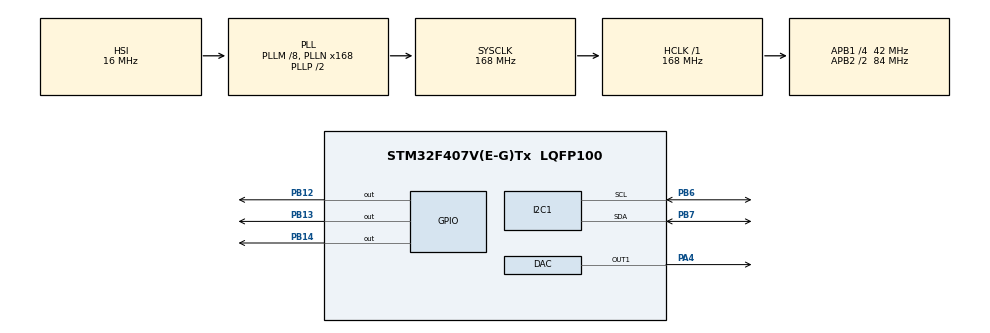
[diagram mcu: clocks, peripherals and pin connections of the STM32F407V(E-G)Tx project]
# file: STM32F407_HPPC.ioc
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Mcu.Family=STM32F4
Mcu.Name=STM32F407V(E-G)Tx
Mcu.Package=LQFP100
NVIC.PriorityGroup=NVIC_PRIORITYGROUP_4
NVIC.TIM6_DAC_IRQn=true\:15\:0\:false\:false\:true\:false\:true\:true
NVIC.TimeBase=TIM6_DAC_IRQn
NVIC.TimeBaseIP=TIM6
PA13.Mode=Trace_Asynchronous_SW
PA13.Signal=SYS_JTMS-SWDIO
PA14.Mode=Trace_Asynchronous_SW
PA14.Signal=SYS_JTCK-SWCLK
PA4.Signal=COMP_DAC1_group
PB12.Signal=GPIO_Output
PB13.Signal=GPIO_Output
PB14.Signal=GPIO_Output
PB3.Mode=Trace_Asynchronous_SW
PB3.Signal=SYS_JTDO-SWO
PB6.Mode=I2C
PB6.Signal=I2C1_SCL
PB7.Mode=I2C
PB7.Signal=I2C1_SDA
PH0-OSC_IN.Mode=HSE-External-Oscillator
PH0-OSC_IN.Signal=RCC_OSC_IN
PH1-OSC_OUT.Mode=HSE-External-Oscillator
PH1-OSC_OUT.Signal=RCC_OSC_OUT
ProjectManager.HeapSize=0x200
ProjectManager.StackSize=0x400
ProjectManager.TargetToolchain=STM32CubeIDE
RCC.48MHZClocksFreq_Value=84000000
RCC.AHBFreq_Value=168000000
RCC.APB1CLKDivider=RCC_HCLK_DIV4
RCC.APB1Freq_Value=42000000
RCC.APB1TimFreq_Value=84000000
RCC.APB2CLKDivider=RCC_HCLK_DIV2
RCC.APB2Freq_Value=84000000
RCC.APB2TimFreq_Value=168000000
RCC.CortexFreq_Value=168000000
RCC.HCLKFreq_Value=168000000
RCC.HSE_VALUE=25000000
RCC.HSI_VALUE=16000000
RCC.LSE_VALUE=32768
RCC.PLLM=8
RCC.PLLN=168
RCC.SYSCLKFreq_VALUE=168000000
RCC.SYSCLKSource=RCC_SYSCLKSOURCE_PLLCLK
RCC.VCOOutputFreq_Value=336000000
SH.COMP_DAC1_group.0=DAC_OUT1,DAC_OUT1
VP_SYS_VS_tim6.Mode=TIM6
VP_TIM3_VS_ClockSourceINT.Mode=Internal
board=custom

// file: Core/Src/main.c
/* USER CODE BEGIN Header */
/**
  ******************************************************************************
  * @file           : main.c
  * @brief          : Main program body
  ******************************************************************************
  * @attention
  *
  * Copyright (c) 2026 STMicroelectronics.
  * All rights reserved.
  *
  * This software is licensed under terms that can be found in the LICENSE file
  * in the root directory of this software component.
  * If no LICENSE file comes with this software, it is provided AS-IS.
  *
  ******************************************************************************
  */
/* USER CODE END Header */
#include "main.h"
#include "SEGGER_RTT.h"
/* USER CODE BEGIN Includes */
#include "ina226.h"
/* USER CODE END Includes */

DAC_HandleTypeDef hdac;

I2C_HandleTypeDef hi2c1;

TIM_HandleTypeDef htim3;

/* USER CODE BEGIN PV */
float bus_voltage   = 0.0f;
float shunt_current = 0.0f;

/* ---- RTT command parser ---- */
#define CMD_BUF_SIZE 64
static char     cmd_buf[CMD_BUF_SIZE];
static uint32_t cmd_len = 0;

/* ---- HPPC state ---- */
static uint8_t hppc_running = 0;   /* 1 = test in progress */
/* USER CODE END PV */

void SystemClock_Config(void);
static void MX_GPIO_Init(void);
static void MX_I2C1_Init(void);
static void MX_TIM3_Init(void);
static void MX_DAC_Init(void);
/* USER CODE BEGIN PFP */
static void RTT_ProcessCommands(void);
static int  str_starts(const char *s, const char *prefix);
/* USER CODE END PFP */

/* USER CODE BEGIN 0 */

/* Return 1 if s starts with prefix (case-sensitive). */
static int str_starts(const char *s, const char *prefix)
{
    while (*prefix) {
        if (*s++ != *prefix++) return 0;
    }
    return 1;
}

/*
 * RTT_ProcessCommands
 * -------------------
 * Drains the RTT down-buffer (channel 0) byte by byte and executes any
 * complete '\n'-terminated command.
 *
 * Supported commands (sent by the Python GUI):
 *   RESET_ALL        – turn everything off
 *   CHARGE           – enable charge path
 *   DISCHARGE_HIGH   – enable high-current discharge
 *   DISCHARGE_LOW    – enable low-current discharge
 *   START_HPPC       – begin HPPC test
 *   STOP_HPPC        – abort HPPC test
 */
static void RTT_ProcessCommands(void)
{
    uint8_t byte;

    while (SEGGER_RTT_Read(0, &byte, 1) == 1)
    {
        /* Ignore carriage returns; treat '\n' as end-of-command. */
        if (byte == '\r') continue;

        if (byte == '\n')
        {
            cmd_buf[cmd_len] = '\0';   /* null-terminate */

            /* ---- dispatch ---- */
            if (str_starts(cmd_buf, "RESET_ALL"))
            {
                hppc_running = 0;
                Reset_All();
                SEGGER_RTT_printf(0, "OK:RESET_ALL\r\n");
            }
            else if (str_starts(cmd_buf, "CHARGE"))
            {
                hppc_running = 0;
                Charge();
                SEGGER_RTT_printf(0, "OK:CHARGE\r\n");
            }
            else if (str_starts(cmd_buf, "DISCHARGE_HIGH"))
            {
                hppc_running = 0;
                Discharge_High();
                SEGGER_RTT_printf(0, "OK:DISCHARGE_HIGH\r\n");
            }
            else if (str_starts(cmd_buf, "DISCHARGE_LOW"))
            {
                hppc_running = 0;
                Discharge_Low();
                SEGGER_RTT_printf(0, "OK:DISCHARGE_LOW\r\n");
            }
            else if (str_starts(cmd_buf, "START_HPPC"))
            {
                hppc_running = 1;
                SEGGER_RTT_printf(0, "OK:START_HPPC\r\n");
            }
            else if (str_starts(cmd_buf, "STOP_HPPC"))
            {
                hppc_running = 0;
                Reset_All();
                SEGGER_RTT_printf(0, "OK:STOP_HPPC\r\n");
            }
            else if (cmd_len > 0)
            {
                SEGGER_RTT_printf(0, "ERR:UNKNOWN_CMD:%s\r\n", cmd_buf);
            }

            cmd_len = 0;   /* reset buffer for next command */
        }
        else
        {
            /* Accumulate character; drop if buffer is full. */
            if (cmd_len < CMD_BUF_SIZE - 1)
                cmd_buf[cmd_len++] = (char)byte;
        }
    }
}

/* USER CODE END 0 */

int main(void)
{

  /* USER CODE BEGIN 1 */
  SCB->VTOR = FLASH_BASE;

  /* USER CODE END 1 */

  /* MCU Configuration--------------------------------------------------------*/

  /* Reset of all peripherals, Initializes the Flash interface and the Systick. */
  HAL_Init();

  /* Configure the system clock */
  SystemClock_Config();

  /* Initialize all configured peripherals */
  MX_GPIO_Init();
  MX_I2C1_Init();
  MX_TIM3_Init();
  MX_DAC_Init();
  /* USER CODE BEGIN 2 */
  // Start the DAC on Channel 1
  HAL_DAC_Start(&hdac, DAC_CHANNEL_1);
  // 13 Discharge
  // 14 Charge
  // Formula: (0.6V / 3.3V) * 4095 = ~745
  Reset_All();
  INA226_Init(&hi2c1);
  SEGGER_RTT_Init();
  /* USER CODE END 2 */

  /* Infinite loop */
  while (1)
  {

    /* USER CODE BEGIN 3 */

    /* 1. Drain the RTT down-buffer and execute any pending commands.
     *    This must come BEFORE the sensor read so the GUI response is
     *    as fast as possible. */
    RTT_ProcessCommands();

    /* 2. Read sensor */
    INA226_Read_Bus_Voltage_Current(&hi2c1, &bus_voltage, &shunt_current);

    /* 3. Send structured telemetry the GUI parser expects.
     *    Format: PREFIX:<integer_milliunit>\r\n
     *      CURRENT: milliamperes  (e.g. 1250 = 1.250 A)
     *      VOLTAGE: millivolts    (e.g. 16320 = 16.320 V)
     *
     *    Negative current (charging) is handled correctly by the cast. */
    SEGGER_RTT_printf(0, "CURRENT:%d\r\n", (int)(shunt_current * 1000.0f));
    SEGGER_RTT_printf(0, "VOLTAGE:%d\r\n", (int)(bus_voltage   * 1000.0f));

    /* 4. If an HPPC test is running, report the state so the GUI can
     *    display it.  The actual test sequencing can be added here. */
    if (hppc_running)
    {
        SEGGER_RTT_printf(0, "STATE:HPPC_RUNNING\r\n");
    }

    /* Small delay to avoid flooding the RTT up-buffer (~100 Hz max). */
    HAL_Delay(10);

  }
  /* USER CODE END 3 */
}

void SystemClock_Config(void)
{
  RCC_OscInitTypeDef RCC_OscInitStruct = {0};
  RCC_ClkInitTypeDef RCC_ClkInitStruct = {0};

  /** Configure the main internal regulator output voltage
  */
  __HAL_RCC_PWR_CLK_ENABLE();
  __HAL_PWR_VOLTAGESCALING_CONFIG(PWR_REGULATOR_VOLTAGE_SCALE1);

  /** Initializes the RCC Oscillators according to the specified parameters
  * in the RCC_OscInitTypeDef structure.
  */
  RCC_OscInitStruct.OscillatorType = RCC_OSCILLATORTYPE_HSI;
  RCC_OscInitStruct.HSIState = RCC_HSI_ON;
  RCC_OscInitStruct.HSICalibrationValue = RCC_HSICALIBRATION_DEFAULT;
  RCC_OscInitStruct.PLL.PLLState = RCC_PLL_ON;
  RCC_OscInitStruct.PLL.PLLSource = RCC_PLLSOURCE_HSI;
  RCC_OscInitStruct.PLL.PLLM = 8;
  RCC_OscInitStruct.PLL.PLLN = 168;
  RCC_OscInitStruct.PLL.PLLP = RCC_PLLP_DIV2;
  RCC_OscInitStruct.PLL.PLLQ = 4;
  if (HAL_RCC_OscConfig(&RCC_OscInitStruct) != HAL_OK)
  {
    Error_Handler();
  }

  /** Initializes the CPU, AHB and APB buses clocks
  */
  RCC_ClkInitStruct.ClockType = RCC_CLOCKTYPE_HCLK|RCC_CLOCKTYPE_SYSCLK
                              |RCC_CLOCKTYPE_PCLK1|RCC_CLOCKTYPE_PCLK2;
  RCC_ClkInitStruct.SYSCLKSource = RCC_SYSCLKSOURCE_PLLCLK;
  RCC_ClkInitStruct.AHBCLKDivider = RCC_SYSCLK_DIV1;
  RCC_ClkInitStruct.APB1CLKDivider = RCC_HCLK_DIV4;
  RCC_ClkInitStruct.APB2CLKDivider = RCC_HCLK_DIV2;

  if (HAL_RCC_ClockConfig(&RCC_ClkInitStruct, FLASH_LATENCY_5) != HAL_OK)
  {
    Error_Handler();
  }
}

static void MX_DAC_Init(void)
{

  DAC_ChannelConfTypeDef sConfig = {0};

  /** DAC Initialization
  */
  hdac.Instance = DAC;
  if (HAL_DAC_Init(&hdac) != HAL_OK)
  {
    Error_Handler();
  }

  /** DAC channel OUT1 config
  */
  sConfig.DAC_Trigger = DAC_TRIGGER_NONE;
  sConfig.DAC_OutputBuffer = DAC_OUTPUTBUFFER_ENABLE;
  if (HAL_DAC_ConfigChannel(&hdac, &sConfig, DAC_CHANNEL_1) != HAL_OK)
  {
    Error_Handler();
  }

}

static void MX_I2C1_Init(void)
{

  hi2c1.Instance = I2C1;
  hi2c1.Init.ClockSpeed = 100000;
  hi2c1.Init.DutyCycle = I2C_DUTYCYCLE_2;
  hi2c1.Init.OwnAddress1 = 0;
  hi2c1.Init.AddressingMode = I2C_ADDRESSINGMODE_7BIT;
  hi2c1.Init.DualAddressMode = I2C_DUALADDRESS_DISABLE;
  hi2c1.Init.OwnAddress2 = 0;
  hi2c1.Init.GeneralCallMode = I2C_GENERALCALL_DISABLE;
  hi2c1.Init.NoStretchMode = I2C_NOSTRETCH_DISABLE;
  if (HAL_I2C_Init(&hi2c1) != HAL_OK)
  {
    Error_Handler();
  }

}

static void MX_TIM3_Init(void)
{

  TIM_ClockConfigTypeDef sClockSourceConfig = {0};
  TIM_MasterConfigTypeDef sMasterConfig = {0};

  htim3.Instance = TIM3;
  htim3.Init.Prescaler = 0;
  htim3.Init.CounterMode = TIM_COUNTERMODE_UP;
  htim3.Init.Period = 65535;
  htim3.Init.ClockDivision = TIM_CLOCKDIVISION_DIV1;
  htim3.Init.AutoReloadPreload = TIM_AUTORELOAD_PRELOAD_DISABLE;
  if (HAL_TIM_Base_Init(&htim3) != HAL_OK)
  {
    Error_Handler();
  }
  sClockSourceConfig.ClockSource = TIM_CLOCKSOURCE_INTERNAL;
  if (HAL_TIM_ConfigClockSource(&htim3, &sClockSourceConfig) != HAL_OK)
  {
    Error_Handler();
  }
  sMasterConfig.MasterOutputTrigger = TIM_TRGO_RESET;
  sMasterConfig.MasterSlaveMode = TIM_MASTERSLAVEMODE_DISABLE;
  if (HAL_TIMEx_MasterConfigSynchronization(&htim3, &sMasterConfig) != HAL_OK)
  {
    Error_Handler();
  }

}

static void MX_GPIO_Init(void)
{
  GPIO_InitTypeDef GPIO_InitStruct = {0};

  /* GPIO Ports Clock Enable */
  __HAL_RCC_GPIOH_CLK_ENABLE();
  __HAL_RCC_GPIOA_CLK_ENABLE();
  __HAL_RCC_GPIOB_CLK_ENABLE();

  /*Configure GPIO pin Output Level */
  HAL_GPIO_WritePin(GPIOB, GPIO_PIN_12|GPIO_PIN_13|GPIO_PIN_14, GPIO_PIN_RESET);

  /*Configure GPIO pins : PB12 PB13 PB14 */
  GPIO_InitStruct.Pin = GPIO_PIN_12|GPIO_PIN_13|GPIO_PIN_14;
  GPIO_InitStruct.Mode = GPIO_MODE_OUTPUT_PP;
  GPIO_InitStruct.Pull = GPIO_NOPULL;
  GPIO_InitStruct.Speed = GPIO_SPEED_FREQ_LOW;
  HAL_GPIO_Init(GPIOB, &GPIO_InitStruct);

}

/* USER CODE BEGIN 4 */
void Reset_All(void) {
    // All pins off (PB12, PB13, PB14)
    HAL_GPIO_WritePin(GPIOB, GPIO_PIN_12 | GPIO_PIN_13 | GPIO_PIN_14, GPIO_PIN_RESET);
    // DAC at 0
    HAL_DAC_SetValue(&hdac, DAC_CHANNEL_1, DAC_ALIGN_12B_R, 0);
}

void Charge(void) {
    Reset_All();
    // Pin 14 on
    HAL_GPIO_WritePin(GPIOB, GPIO_PIN_14, GPIO_PIN_SET);
}
  // Formula: (0.6V / 3.3V) * 4095 = ~745
void Discharge_High(void) {
    Reset_All();
    // Pin 13 on and DAC 2418
    HAL_GPIO_WritePin(GPIOB, GPIO_PIN_13, GPIO_PIN_SET);
    HAL_DAC_SetValue(&hdac, DAC_CHANNEL_1, DAC_ALIGN_12B_R, 1102);
}

void Discharge_Low(void) {
    Reset_All();
    // Pin 13 on and DAC 618
    HAL_GPIO_WritePin(GPIOB, GPIO_PIN_13, GPIO_PIN_SET);
    HAL_DAC_SetValue(&hdac, DAC_CHANNEL_1, DAC_ALIGN_12B_R, 618);
}
/* USER CODE END 4 */

void HAL_TIM_PeriodElapsedCallback(TIM_HandleTypeDef *htim)
{
  if (htim->Instance == TIM6)
  {
    HAL_IncTick();
  }
}

void Error_Handler(void)
{
  __disable_irq();
  while (1)
  {
  }
}
